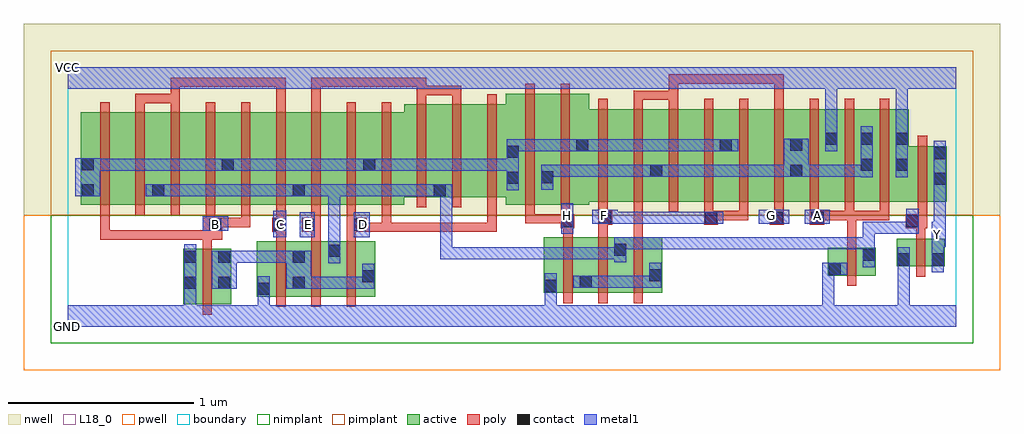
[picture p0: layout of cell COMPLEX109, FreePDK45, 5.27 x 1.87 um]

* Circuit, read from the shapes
.subckt COMPLEX109 A B C D E F G GND H VCC Y
M1 n1 B GND VSUBS nfet w=0.3u l=0.05u
M2 n1 C GND VSUBS nfet w=0.3u l=0.05u
M3 n2 E n1 VSUBS nfet w=0.3u l=0.05u
M4 n1 D n2 VSUBS nfet w=0.3u l=0.05u
M5 n3 H GND VSUBS nfet w=0.3u l=0.05u
M6 n2 F n3 VSUBS nfet w=0.3u l=0.05u
M7 n3 G n2 VSUBS nfet w=0.3u l=0.05u
M8 n2 A GND VSUBS nfet w=0.15u l=0.05u
M9 Y n2 GND VSUBS nfet w=0.15u l=0.05u
M10 n4 B n5 n6 pfet w=0.5u l=0.05u
M11 n2 C n4 n6 pfet w=0.5u l=0.05u
M12 n7 C n2 n6 pfet w=0.5u l=0.05u
M13 n5 B n7 n6 pfet w=0.5u l=0.05u
M14 n8 B n5 n6 pfet w=0.5u l=0.05u
M15 n2 C n8 n6 pfet w=0.5u l=0.05u
M16 n9 E n2 n6 pfet w=0.5u l=0.05u
M17 n5 D n9 n6 pfet w=0.5u l=0.05u
M18 n10 D n5 n6 pfet w=0.5u l=0.05u
M19 n2 E n10 n6 pfet w=0.5u l=0.05u
M20 n11 E n2 n6 pfet w=0.5u l=0.05u
M21 n5 D n11 n6 pfet w=0.5u l=0.05u
M22 n12 H n5 n6 pfet w=0.6u l=0.05u m=2
M23 n13 F n5 n6 pfet w=0.5u l=0.05u
M24 n12 G n13 n6 pfet w=0.5u l=0.05u
M25 n14 G n12 n6 pfet w=0.5u l=0.05u
M26 n5 F n14 n6 pfet w=0.5u l=0.05u
M27 n15 F n5 n6 pfet w=0.5u l=0.05u
M28 n12 G n15 n6 pfet w=0.5u l=0.05u
M29 VCC A n12 n6 pfet w=0.5u l=0.05u m=3
M30 Y n2 VCC n6 pfet w=0.3u l=0.05u
.ends

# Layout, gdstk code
import gdstk
lib = gdstk.Library(unit=1e-6, precision=1e-09)
def R(c, l, rs):  # rectangles x0, y0, x1, y1
    for r in rs: c.add(gdstk.rectangle(r[:2], r[2:], *l))
def A(c, l, x, y, w, h, nx, ny, dx, dy):  # array of equal rectangles
    R(c, l, [(x+i*dx, y+j*dy, x+i*dx+w, y+j*dy+h) for i in range(nx) for j in range(ny)])
active = (1, 0)
pwell = (2, 0)
nwell = (3, 0)
nimplant = (4, 0)
pimplant = (5, 0)
poly = (9, 0)
contact = (10, 0)
metal1 = (11, 0)
L18_0 = (18, 0)
boundary = (235, 0)

complex109 = lib.new_cell('COMPLEX109')
A(complex109, active, 3.897, 0.675, 0.265, 0.5, 3, 1, 0.19, 0)
R(complex109, active, [(0.625,0.12,0.7,0.42), (0.625,0.12,0.885,0.42), (1.022,0.162,1.287,0.462), (1.212,0.162,1.477,0.462), (1.402,0.162,1.662,0.462), (1.022,0.167,1.097,0.462), (2.572,0.182,2.835,0.482), (2.572,0.182,2.647,0.482), (2.76,0.182,3.022,0.482), (2.947,0.182,3.212,0.482), (0.81,0.2,0.885,0.42), (1.212,0.2,1.287,0.415), (2.76,0.2,2.835,0.392), (3.137,0.2,3.212,0.482), (1.587,0.207,1.662,0.462), (1.402,0.247,1.477,0.447), (2.947,0.247,3.022,0.452), (4.105,0.275,4.18,0.425), (4.105,0.275,4.365,0.425), (4.29,0.275,4.365,0.425), (4.477,0.325,4.552,0.475), (4.477,0.325,4.737,0.475), (4.662,0.325,4.737,0.475), (0.072,0.657,0.297,1.157), (0.072,0.657,0.147,1.157), (0.297,0.657,0.527,1.157), (0.452,0.657,0.677,1.157), (0.452,0.657,0.527,1.07), (0.677,0.657,0.902,1.157), (0.827,0.657,1.057,1.157), (1.057,0.657,1.287,1.157), (1.212,0.657,1.437,1.157), (1.437,0.657,1.667,1.157), (1.592,0.657,1.817,1.157), (2.367,0.657,2.627,1.257), (2.552,0.657,2.817,1.257), (2.552,0.657,2.627,1.07), (1.212,0.675,1.287,1.07), (2.742,0.675,2.987,1.175), (2.987,0.675,3.217,1.175), (3.142,0.675,3.217,1.07), (3.142,0.675,3.367,1.175), (3.367,0.675,3.592,1.175), (3.517,0.675,3.747,1.175), (3.747,0.675,3.972,1.175), (3.897,0.675,3.972,1.157), (4.277,0.675,4.352,1.157), (4.467,0.675,4.747,0.975), (4.672,0.675,4.747,0.975), (0.827,0.682,0.902,1.157), (1.592,0.682,1.667,1.157), (3.517,0.682,3.592,1.157), (4.467,0.685,4.542,1.175), (1.817,0.7,2.047,1.2), (1.972,0.7,2.197,1.2), (1.972,0.7,2.047,1.07), (2.197,0.7,2.442,1.2), (2.367,0.7,2.442,1.2), (2.742,0.722,2.817,1.2), (4.087,0.762,4.162,1.157)])
R(complex109, pwell, [(-0.235,-0.235,5.035,0.602)])
R(complex109, nwell, [(-0.235,0.602,5.035,1.635)])
R(complex109, nimplant, [(-0.09,-0.09,4.89,0.602)])
R(complex109, pimplant, [(-0.09,0.602,4.89,1.49)])
A(complex109, poly, 1.127, 0.107, 0.05, 0.41, 3, 1, 0.19, 0)
A(complex109, poly, 2.677, 0.127, 0.05, 0.41, 3, 1, 0.19, 0)
A(complex109, poly, 1.127, 0.467, 0.05, 0.095, 3, 1, 0.19, 0)
A(complex109, poly, 0.747, 0.537, 0.05, 0.115, 5, 1, 0.19, 0)
A(complex109, poly, 3.437, 0.575, 0.05, 0.095, 6, 1, 0.19, 0)
A(complex109, poly, 0.177, 0.602, 0.05, 0.61, 9, 1, 0.19, 0)
A(complex109, poly, 2.867, 0.62, 0.05, 0.61, 9, 1, 0.19, 0)
A(complex109, poly, 1.887, 0.645, 0.05, 0.61, 3, 1, 0.19, 0)
R(complex109, poly, [(0.73,0.065,0.78,0.475), (4.21,0.22,4.26,0.48), (4.582,0.27,4.632,0.53), (0.73,0.425,0.78,0.52), (4.21,0.43,4.26,0.625), (0.177,0.47,0.227,0.52), (0.177,0.47,0.227,0.52), (0.177,0.47,0.227,0.52), (0.177,0.47,0.227,0.652), (0.177,0.47,0.36,0.52), (0.31,0.47,0.36,0.52), (0.31,0.47,0.36,0.52), (0.31,0.47,0.36,0.52), (0.31,0.47,0.575,0.52), (0.525,0.47,0.575,0.52), (0.525,0.47,0.78,0.52), (0.73,0.47,0.78,0.52), (0.73,0.47,0.78,0.52), (0.73,0.47,0.835,0.587), (4.582,0.48,4.632,0.582), (2.677,0.487,2.727,0.582), (2.867,0.487,2.917,0.6), (3.057,0.487,3.107,0.625), (1.105,0.512,1.18,0.587), (1.265,0.512,1.367,0.587), (1.507,0.512,1.615,0.587), (1.565,0.512,1.747,0.562), (1.697,0.512,1.747,0.562), (1.697,0.512,1.747,0.562), (1.697,0.512,1.747,0.562), (1.697,0.512,1.937,0.562), (1.697,0.512,1.747,0.652), (1.887,0.512,1.937,0.562), (1.887,0.512,1.937,0.562), (1.887,0.512,1.937,0.562), (1.887,0.512,2.07,0.562), (2.02,0.512,2.07,0.562), (2.02,0.512,2.07,0.562), (2.02,0.512,2.07,0.562), (2.02,0.512,2.317,0.562), (2.267,0.512,2.317,0.562), (2.267,0.512,2.317,0.562), (2.267,0.512,2.317,0.562), (2.267,0.512,2.317,0.695), (2.662,0.532,2.737,0.607), (4.525,0.532,4.642,0.607), (0.785,0.537,0.987,0.587), (0.937,0.537,0.987,0.587), (0.937,0.537,0.987,0.587), (0.937,0.537,0.987,0.587), (2.867,0.55,2.942,0.625), (3.437,0.55,3.512,0.625), (3.792,0.55,3.867,0.625), (4.007,0.55,4.087,0.625), (2.472,0.557,2.522,0.652), (2.472,0.557,2.522,0.607), (2.472,0.557,2.712,0.607), (2.662,0.557,2.712,0.652), (2.662,0.557,2.712,0.607), (2.662,0.557,2.712,0.607), (4.592,0.557,4.642,0.67), (2.867,0.575,2.917,0.67), (3.057,0.575,3.107,0.67), (3.057,0.575,3.107,0.625), (3.462,0.575,3.677,0.625), (3.627,0.575,3.677,0.625), (3.627,0.575,3.677,0.625), (3.627,0.575,3.677,0.625), (4.037,0.575,4.087,0.625), (4.037,0.575,4.087,0.625), (4.037,0.575,4.247,0.625), (4.197,0.575,4.26,0.625), (4.21,0.575,4.437,0.625), (4.387,0.575,4.437,0.625), (4.387,0.575,4.437,0.625), (4.387,0.575,4.437,0.625), (2.472,0.602,2.522,1.312), (2.662,0.602,2.712,1.312), (4.592,0.62,4.642,1.03), (0.367,1.162,0.417,1.257), (0.557,1.162,0.607,1.257), (1.127,1.162,1.177,1.345), (1.317,1.162,1.367,1.345), (3.057,1.18,3.107,1.275), (3.247,1.18,3.297,1.275), (3.817,1.18,3.867,1.362), (1.887,1.205,1.937,1.3), (2.077,1.205,2.127,1.3), (0.367,1.207,0.417,1.257), (0.367,1.207,0.417,1.257), (0.367,1.207,0.417,1.257), (0.367,1.207,0.607,1.257), (0.557,1.207,0.607,1.345), (3.057,1.225,3.107,1.275), (3.057,1.225,3.107,1.275), (3.057,1.225,3.107,1.275), (3.057,1.225,3.297,1.275), (3.247,1.225,3.297,1.362), (1.887,1.25,1.937,1.345), (1.887,1.25,1.937,1.3), (1.887,1.25,1.937,1.3), (1.887,1.25,2.127,1.3), (2.077,1.25,2.127,1.3), (2.077,1.25,2.127,1.3), (2.077,1.25,2.127,1.3), (0.557,1.295,0.607,1.345), (0.557,1.295,0.607,1.345), (0.557,1.295,0.777,1.345), (0.727,1.295,0.777,1.345), (0.727,1.295,0.967,1.345), (0.917,1.295,0.967,1.345), (0.917,1.295,0.967,1.345), (0.917,1.295,0.967,1.345), (0.917,1.295,1.177,1.345), (1.127,1.295,1.177,1.345), (1.127,1.295,1.177,1.345), (1.127,1.295,1.177,1.345), (1.317,1.295,1.367,1.345), (1.317,1.295,1.367,1.345), (1.317,1.295,1.367,1.345), (1.317,1.295,1.537,1.345), (1.487,1.295,1.537,1.345), (1.487,1.295,1.537,1.345), (1.487,1.295,1.537,1.345), (1.487,1.295,1.805,1.345), (1.755,1.295,1.805,1.345), (1.755,1.295,1.937,1.345), (3.247,1.312,3.545,1.362), (3.495,1.312,3.545,1.362), (3.495,1.312,3.545,1.362), (3.495,1.312,3.545,1.362), (3.495,1.312,3.71,1.362), (3.66,1.312,3.71,1.362), (3.66,1.312,3.71,1.362), (3.66,1.312,3.71,1.362), (3.66,1.312,3.867,1.362), (3.817,1.312,3.867,1.362), (3.817,1.312,3.867,1.362), (3.817,1.312,3.867,1.362)])
A(complex109, contact, 0.457, 0.705, 0.065, 0.065, 3, 1, 0.76, 0)
A(complex109, contact, 4.092, 0.982, 0.065, 0.065, 3, 1, 0.19, 0)
R(complex109, contact, [(1.027,0.172,1.092,0.237), (2.577,0.187,2.642,0.252), (0.63,0.205,0.695,0.27), (0.815,0.205,0.88,0.27), (1.217,0.205,1.282,0.27), (2.765,0.21,2.83,0.275), (1.592,0.24,1.657,0.305), (3.142,0.245,3.207,0.31), (4.11,0.28,4.175,0.345), (4.482,0.33,4.547,0.395), (4.667,0.33,4.732,0.395), (0.63,0.345,0.695,0.41), (0.815,0.345,0.88,0.41), (1.217,0.345,1.282,0.41), (4.295,0.355,4.36,0.42), (1.407,0.377,1.472,0.442), (2.952,0.382,3.017,0.447), (0.765,0.517,0.83,0.582), (1.11,0.517,1.175,0.582), (1.27,0.517,1.335,0.582), (1.545,0.517,1.61,0.582), (2.667,0.537,2.732,0.602), (4.53,0.537,4.595,0.602), (2.872,0.555,2.937,0.62), (3.442,0.555,3.507,0.62), (3.797,0.555,3.862,0.62), (4.017,0.555,4.082,0.62), (0.077,0.705,0.142,0.77), (4.677,0.765,4.742,0.83), (2.372,0.772,2.437,0.837), (2.557,0.775,2.622,0.84), (3.147,0.81,3.212,0.875), (3.902,0.81,3.967,0.875), (0.832,0.842,0.897,0.907), (1.597,0.842,1.662,0.907), (4.282,0.842,4.347,0.907), (4.472,0.842,4.537,0.907), (0.077,0.845,0.142,0.91), (4.677,0.905,4.742,0.97), (2.372,0.912,2.437,0.977), (2.747,0.947,2.812,1.012), (3.522,0.947,3.587,1.012), (3.902,0.95,3.967,1.015)])
A(complex109, metal1, 3.075, 0.417, 0.202, 0.065, 3, 1, 0.275, 0)
A(complex109, metal1, 0.422, 0.705, 0.135, 0.065, 3, 1, 0.76, 0)
A(complex109, metal1, 2.937, 0.81, 0.203, 0.065, 3, 1, 0.275, 0)
R(complex109, metal1, [(0,0,4.8,0.115), (0.63,0.05,0.695,0.115), (0.63,0.05,0.695,0.115), (0.63,0.05,0.695,0.235), (1.027,0.05,1.092,0.115), (1.027,0.05,1.092,0.115), (1.027,0.05,1.092,0.202), (2.577,0.05,2.642,0.217), (4.075,0.05,4.14,0.115), (4.075,0.05,4.14,0.115), (4.075,0.05,4.14,0.115), (4.075,0.05,4.14,0.115), (4.075,0.05,4.14,0.345), (4.482,0.05,4.547,0.115), (4.482,0.05,4.547,0.115), (4.482,0.05,4.547,0.36), (1.027,0.137,1.092,0.272), (2.577,0.152,2.642,0.287), (2.577,0.152,2.642,0.217), (2.577,0.152,2.642,0.217), (0.63,0.17,0.695,0.445), (0.78,0.205,0.915,0.41), (1.182,0.205,1.317,0.41), (1.252,0.205,1.317,0.27), (1.252,0.205,1.317,0.27), (1.252,0.205,1.49,0.27), (1.425,0.205,1.49,0.27), (1.425,0.205,1.657,0.27), (1.592,0.205,1.657,0.34), (1.592,0.205,1.657,0.27), (1.592,0.205,1.657,0.27), (2.73,0.21,2.865,0.275), (2.8,0.21,3.002,0.275), (2.937,0.21,3.002,0.275), (2.937,0.21,3.002,0.275), (2.937,0.21,3.002,0.275), (2.937,0.21,3.14,0.275), (3.075,0.21,3.14,0.275), (3.075,0.21,3.207,0.275), (3.142,0.21,3.207,0.345), (4.075,0.28,4.21,0.345), (4.482,0.295,4.547,0.43), (4.482,0.295,4.547,0.36), (4.482,0.295,4.547,0.36), (4.667,0.295,4.732,0.43), (4.295,0.32,4.36,0.482), (1.407,0.342,1.472,0.477), (0.85,0.345,0.932,0.41), (0.867,0.345,0.932,0.41), (0.867,0.345,1.11,0.41), (1.045,0.345,1.11,0.41), (1.045,0.345,1.11,0.41), (1.045,0.345,1.11,0.41), (1.045,0.345,1.247,0.41), (2.952,0.347,3.017,0.482), (2.012,0.365,2.077,0.43), (2.012,0.365,2.3,0.43), (2.012,0.365,2.077,0.77), (2.235,0.365,2.3,0.43), (2.235,0.365,2.3,0.43), (2.235,0.365,2.3,0.43), (2.235,0.365,2.437,0.43), (2.372,0.365,2.437,0.43), (2.372,0.365,2.437,0.43), (2.372,0.365,2.437,0.43), (2.372,0.365,2.575,0.43), (2.51,0.365,2.575,0.43), (2.51,0.365,2.575,0.43), (2.51,0.365,2.575,0.43), (2.51,0.365,2.575,0.43), (2.51,0.365,2.575,0.43), (2.51,0.365,2.76,0.43), (2.695,0.365,2.76,0.43), (2.695,0.365,2.76,0.43), (2.695,0.365,2.76,0.43), (2.695,0.365,3.002,0.43), (2.937,0.365,3.002,0.43), (2.937,0.365,3.017,0.43), (4.667,0.365,4.732,0.497), (1.407,0.412,1.472,0.477), (1.407,0.412,1.472,0.477), (1.407,0.412,1.472,0.77), (2.952,0.417,3.14,0.482), (3.075,0.417,3.14,0.482), (3.212,0.417,3.277,0.482), (3.212,0.417,3.277,0.482), (3.212,0.417,3.277,0.482), (3.212,0.417,3.415,0.482), (3.35,0.417,3.415,0.482), (3.35,0.417,3.415,0.482), (3.35,0.417,3.415,0.482), (3.487,0.417,3.552,0.482), (3.487,0.417,3.552,0.482), (3.487,0.417,3.552,0.482), (3.487,0.417,3.69,0.482), (3.625,0.417,3.69,0.482), (3.625,0.417,3.69,0.482), (3.625,0.417,3.69,0.482), (3.762,0.417,3.827,0.482), (3.762,0.417,3.827,0.482), (3.762,0.417,3.827,0.482), (3.762,0.417,4.14,0.482), (4.075,0.417,4.14,0.482), (4.075,0.417,4.14,0.482), (4.075,0.417,4.14,0.482), (4.075,0.417,4.36,0.482), (4.295,0.417,4.36,0.482), (4.295,0.417,4.36,0.567), (4.667,0.432,4.742,0.567), (1.11,0.482,1.182,0.627), (1.255,0.482,1.335,0.617), (1.545,0.482,1.632,0.617), (2.667,0.502,2.732,0.667), (4.295,0.502,4.595,0.567), (4.53,0.502,4.595,0.637), (4.53,0.502,4.595,0.567), (4.53,0.502,4.595,0.567), (4.53,0.502,4.595,0.567), (4.53,0.502,4.595,0.567), (4.677,0.502,4.742,0.795), (0.73,0.517,0.867,0.595), (2.832,0.555,2.972,0.632), (2.907,0.555,3.002,0.62), (2.937,0.555,3.002,0.62), (2.937,0.555,3.14,0.62), (3.075,0.555,3.14,0.62), (3.075,0.555,3.277,0.62), (3.212,0.555,3.277,0.62), (3.212,0.555,3.277,0.62), (3.212,0.555,3.277,0.62), (3.212,0.555,3.415,0.62), (3.35,0.555,3.415,0.62), (3.35,0.555,3.472,0.62), (3.407,0.555,3.542,0.62), (3.732,0.555,3.897,0.632), (3.982,0.555,4.117,0.632), (0.042,0.705,0.177,0.91), (0.492,0.705,0.557,0.77), (0.492,0.705,0.557,0.77), (0.492,0.705,0.707,0.77), (0.642,0.705,0.707,0.77), (0.642,0.705,0.707,0.77), (0.642,0.705,0.707,0.77), (0.642,0.705,0.932,0.77), (0.867,0.705,0.932,0.77), (0.867,0.705,0.932,0.77), (0.867,0.705,0.932,0.77), (0.867,0.705,1.07,0.77), (1.005,0.705,1.07,0.77), (1.005,0.705,1.07,0.77), (1.005,0.705,1.07,0.77), (1.005,0.705,1.247,0.77), (1.252,0.705,1.472,0.77), (1.407,0.705,1.472,0.77), (1.407,0.705,1.472,0.77), (1.407,0.705,1.472,0.77), (1.407,0.705,1.732,0.77), (1.667,0.705,1.732,0.77), (1.667,0.705,1.732,0.77), (1.667,0.705,1.732,0.77), (1.667,0.705,1.87,0.77), (1.805,0.705,1.87,0.77), (1.805,0.705,1.87,0.77), (1.805,0.705,1.87,0.77), (1.805,0.705,2.007,0.77), (1.942,0.705,2.007,0.77), (1.942,0.705,2.007,0.77), (4.677,0.73,4.742,1.005), (2.372,0.737,2.437,1.012), (2.557,0.74,2.622,0.875), (4.282,0.807,4.347,1.082), (4.472,0.807,4.537,1.082), (2.557,0.81,2.76,0.875), (2.695,0.81,2.76,0.875), (2.695,0.81,2.76,0.875), (2.695,0.81,2.76,0.875), (2.695,0.81,3.002,0.875), (2.937,0.81,3.002,0.875), (2.937,0.81,3.002,0.875), (2.937,0.81,3.002,0.875), (3.075,0.81,3.14,0.875), (3.075,0.81,3.177,0.875), (3.112,0.81,3.247,0.875), (3.182,0.81,3.277,0.875), (3.212,0.81,3.277,0.875), (3.35,0.81,3.415,0.875), (3.35,0.81,3.415,0.875), (3.35,0.81,3.415,0.875), (3.35,0.81,3.552,0.875), (3.487,0.81,3.552,0.875), (3.487,0.81,3.552,0.875), (3.487,0.81,3.552,0.875), (3.625,0.81,3.69,0.875), (3.625,0.81,3.69,0.875), (3.625,0.81,3.69,0.875), (3.625,0.81,3.932,0.875), (3.867,0.81,4.002,1.015), (3.937,0.81,4.002,0.875), (3.937,0.81,4.002,0.875), (3.937,0.81,4.14,0.875), (4.075,0.81,4.14,0.875), (4.075,0.81,4.14,0.875), (4.075,0.81,4.14,0.875), (4.075,0.81,4.347,0.875), (0.112,0.842,0.177,0.907), (0.112,0.842,0.177,0.907), (0.112,0.842,0.35,0.907), (0.285,0.842,0.35,0.907), (0.285,0.842,0.35,0.907), (0.285,0.842,0.35,0.907), (0.285,0.842,0.487,0.907), (0.422,0.842,0.487,0.907), (0.422,0.842,0.487,0.907), (0.422,0.842,0.487,0.907), (0.422,0.842,0.695,0.907), (0.63,0.842,0.695,0.907), (0.63,0.842,0.695,0.907), (0.63,0.842,0.695,0.907), (0.63,0.842,0.862,0.907), (0.797,0.842,0.932,0.907), (0.867,0.842,0.932,0.907), (0.867,0.842,0.932,0.907), (0.867,0.842,1.07,0.907), (1.005,0.842,1.07,0.907), (1.005,0.842,1.07,0.907), (1.005,0.842,1.07,0.907), (1.005,0.842,1.317,0.907), (1.252,0.842,1.317,0.907), (1.252,0.842,1.455,0.907), (1.39,0.842,1.455,0.907), (1.39,0.842,1.455,0.907), (1.39,0.842,1.455,0.907), (1.39,0.842,1.627,0.907), (1.562,0.842,1.627,0.907), (1.562,0.842,1.627,0.907), (1.562,0.842,1.697,0.907), (1.632,0.842,1.87,0.907), (1.805,0.842,1.87,0.907), (1.805,0.842,1.87,0.907), (1.805,0.842,1.87,0.907), (1.805,0.842,2.007,0.907), (1.942,0.842,2.007,0.907), (1.942,0.842,2.007,0.907), (1.942,0.842,2.007,0.907), (1.942,0.842,2.3,0.907), (2.235,0.842,2.3,0.907), (2.235,0.842,2.3,0.907), (2.235,0.842,2.3,0.907), (2.235,0.842,2.437,0.907), (2.372,0.842,2.437,0.907), (2.372,0.842,2.437,0.907), (2.372,0.947,2.575,1.012), (2.51,0.947,2.575,1.012), (2.51,0.947,2.575,1.012), (2.51,0.947,2.575,1.012), (2.51,0.947,2.76,1.012), (2.695,0.947,2.76,1.012), (2.695,0.947,2.76,1.012), (2.695,0.947,2.847,1.012), (2.782,0.947,3.002,1.012), (2.937,0.947,3.002,1.012), (2.937,0.947,3.002,1.012), (2.937,0.947,3.002,1.012), (2.937,0.947,3.14,1.012), (3.075,0.947,3.14,1.012), (3.075,0.947,3.277,1.012), (3.212,0.947,3.277,1.012), (3.212,0.947,3.277,1.012), (3.212,0.947,3.277,1.012), (3.212,0.947,3.415,1.012), (3.35,0.947,3.415,1.012), (3.35,0.947,3.415,1.012), (3.35,0.947,3.415,1.012), (3.35,0.947,3.552,1.012), (3.487,0.947,3.622,1.012), (4.092,0.947,4.157,1.082), (4.092,1.017,4.157,1.35), (4.472,1.017,4.537,1.35), (0,1.285,4.8,1.4), (4.092,1.285,4.157,1.35), (4.092,1.285,4.157,1.35), (4.472,1.285,4.537,1.35), (4.472,1.285,4.537,1.35)])
R(complex109, L18_0, [(0,0,4.8,0.115), (0.63,0.05,0.695,0.115), (0.63,0.05,0.695,0.115), (0.63,0.05,0.695,0.235), (1.027,0.05,1.092,0.115), (1.027,0.05,1.092,0.115), (1.027,0.05,1.092,0.202), (2.577,0.05,2.642,0.217), (4.075,0.05,4.14,0.115), (4.075,0.05,4.14,0.115), (4.075,0.05,4.14,0.115), (4.075,0.05,4.14,0.115), (4.075,0.05,4.14,0.345), (4.482,0.05,4.547,0.115), (4.482,0.05,4.547,0.115), (4.482,0.05,4.547,0.36), (1.027,0.137,1.092,0.272), (2.577,0.152,2.642,0.217), (2.577,0.152,2.642,0.217), (2.577,0.152,2.642,0.287), (0.63,0.17,0.695,0.445), (4.075,0.28,4.21,0.345), (4.482,0.295,4.547,0.36), (4.482,0.295,4.547,0.36), (4.482,0.295,4.547,0.43), (4.667,0.295,4.732,0.43), (4.667,0.365,4.732,0.497), (4.667,0.432,4.742,0.567), (4.667,0.467,4.732,0.532), (1.11,0.482,1.182,0.627), (1.255,0.482,1.335,0.617), (1.545,0.482,1.632,0.617), (2.667,0.502,2.732,0.667), (4.677,0.502,4.742,0.795), (0.73,0.517,0.867,0.595), (0.767,0.517,0.832,0.582), (1.117,0.517,1.182,0.582), (1.267,0.517,1.332,0.582), (1.567,0.517,1.632,0.582), (2.832,0.555,2.972,0.632), (2.907,0.555,3.002,0.62), (2.937,0.555,3.002,0.62), (2.937,0.555,3.14,0.62), (3.075,0.555,3.14,0.62), (3.075,0.555,3.277,0.62), (3.212,0.555,3.277,0.62), (3.212,0.555,3.277,0.62), (3.212,0.555,3.277,0.62), (3.212,0.555,3.415,0.62), (3.35,0.555,3.415,0.62), (3.35,0.555,3.472,0.62), (3.407,0.555,3.542,0.62), (3.732,0.555,3.897,0.632), (3.982,0.555,4.117,0.632), (2.667,0.567,2.732,0.632), (2.867,0.567,2.932,0.632), (3.767,0.567,3.832,0.632), (4.017,0.567,4.082,0.632), (4.677,0.73,4.742,1.005), (4.472,0.807,4.537,1.082), (4.092,0.947,4.157,1.082), (4.092,1.017,4.157,1.35), (4.472,1.017,4.537,1.35), (0,1.285,4.8,1.4), (4.092,1.285,4.157,1.35), (4.092,1.285,4.157,1.35), (4.472,1.285,4.537,1.35), (4.472,1.285,4.537,1.35)])
R(complex109, boundary, [(0,0,4.8,1.4)])
complex109.add(gdstk.Label('A', (4.05,0.6), layer=11, texttype=0))
complex109.add(gdstk.Label('B', (0.8,0.55), layer=11, texttype=0))
complex109.add(gdstk.Label('C', (1.15,0.55), layer=11, texttype=0))
complex109.add(gdstk.Label('D', (1.6,0.55), layer=11, texttype=0))
complex109.add(gdstk.Label('E', (1.3,0.55), layer=11, texttype=0))
complex109.add(gdstk.Label('F', (2.9,0.6), layer=11, texttype=0))
complex109.add(gdstk.Label('G', (3.8,0.6), layer=11, texttype=0))
complex109.add(gdstk.Label('H', (2.7,0.6), layer=11, texttype=0))
complex109.add(gdstk.Label('Y', (4.7,0.5), layer=11, texttype=0))
complex109.add(gdstk.Label('VCC', (0,1.4), layer=11, texttype=0))
complex109.add(gdstk.Label('GND', (0,0), layer=11, texttype=0))

lib.write_gds('COMPLEX109.gds')
